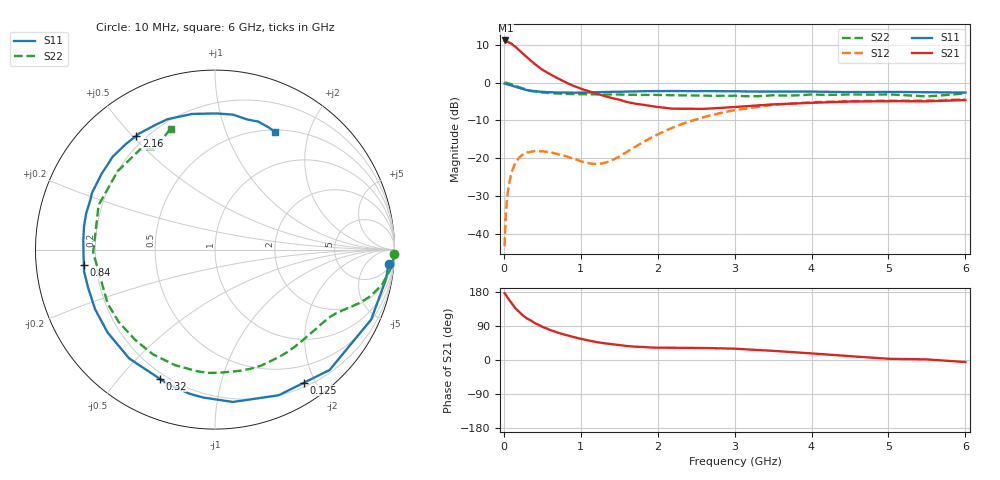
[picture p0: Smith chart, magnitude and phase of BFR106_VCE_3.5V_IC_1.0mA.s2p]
! Infineon Technologies  Discrete & RF Semiconductors
! BFR106
! VCE =  3.5 V,  IC =  1.0 mA
! Common Emitter S-Parameters:  Nov 2015
# GHz  S  MA  R  50
!  f  S11  S21  S12  S22
! GHz  MAG  ANG  MAG  ANG  MAG  ANG  MAG  ANG
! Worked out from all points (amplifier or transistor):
!   210 points, 10 MHz to 6 GHz, reference 50 ohm
!   highest |S21| = 11.1 dB at 20 MHz (marker M1)
!   |S21| within 3 dB of that: start of sweep to 221.6 MHz
!   unconditionally stable (mu >= 1): 857.5 MHz to 2.182 GHz; 2.231 GHz to end of sweep
!   at 185 MHz: K = 0.20, MSG = 14.6 dB, |S12| = -20.3 dB
!   at 1.52 GHz: K = 1.35, MAG = 3.8 dB, |S12| = -19.3 dB
!   at 6 GHz: K = 1.02, MAG = -1.0 dB, |S12| = -4.4 dB
!   S11 on the Smith chart (normalised r, x): 10 MHz: 8, -21; 125 MHz: 0.25, -1.85; 320 MHz: 0.17, -0.65; 840 MHz: 0.15, -0.06; 2.16 GHz: 0.16, +0.51; 6 GHz: 0.52, +1.50
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0.01  0.9701 -4.8  3.599 176.3  0.0068 89.4  0.9996 -1.4
0.02  0.9668 -9.9  3.607 173.9  0.0137 84.5  0.997 -2.6
0.055  0.9444 -26.2  3.452 162.6  0.0372 73.8  0.9794 -6.9
0.1  0.9262 -46.4  3.27 150.2  0.0642 64.4  0.9508 -11.9
0.125  0.8921 -56.2  3.101 143.7  0.0749 57.9  0.9275 -14.1
0.15  0.8856 -66.4  2.976 136.5  0.0863 53.0  0.9057 -16.5
0.2  0.8548 -83.3  2.68 126.6  0.1016 44.8  0.8673 -19.6
0.26  0.8155 -100.0  2.354 115.6  0.1132 36.6  0.8233 -22.7
0.32  0.7824 -113.2  2.073 107.6  0.119 30.9  0.7931 -25.0
0.4  0.7723 -128.2  1.767 97.7  0.1237 24.6  0.7617 -27.8
0.5  0.7561 -142.3  1.479 87.5  0.1229 19.4  0.7384 -31.0
0.64  0.7405 -157.4  1.226 76.6  0.1167 15.7  0.72 -36.1
0.84  0.7359 -173.3  0.967 64.2  0.103 16.3  0.7047 -43.8
1.02  0.7363 174.5  0.817 55.0  0.0894 22.8  0.7001 -51.2
1.4  0.7547 155.2  0.623 41.7  0.0924 56.5  0.6956 -68.3
2.02  0.7694 129.7  0.472 32.5  0.2101 73.4  0.6833 -99.6
2.16  0.7711 124.7  0.455 32.3  0.2441 71.7  0.6801 -107.0
3.1  0.763 97.5  0.482 28.7  0.4443 48.6  0.6609 -158.4
3.5  0.7586 89.5  0.514 24.2  0.5077 38.2  0.6789 -178.7
4.1  0.7555 81.1  0.543 16.0  0.5525 24.0  0.6892 155.5
5.1  0.7504 70.4  0.566 3.0  0.576 6.8  0.688 125.6
6  0.736 63.2  0.585 -5.4  0.6008 -4.0  0.7165 110.2
